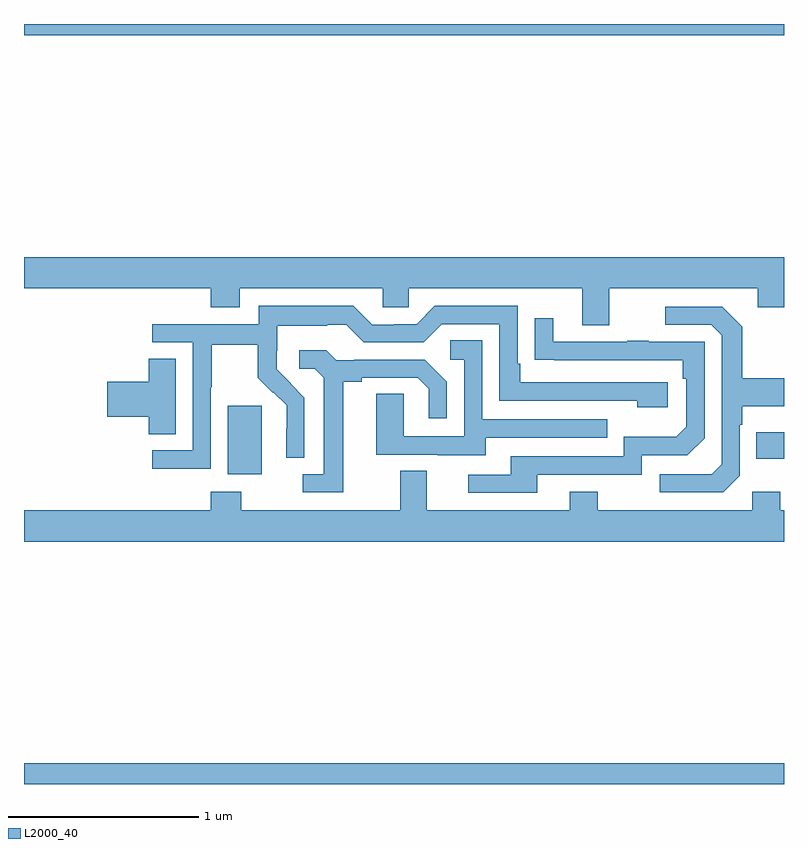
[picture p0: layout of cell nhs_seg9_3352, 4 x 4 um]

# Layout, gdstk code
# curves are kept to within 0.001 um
import gdstk
lib = gdstk.Library(unit=1e-6, precision=1e-09)
def R(c, l, rs):  # rectangles x0, y0, x1, y1
    for r in rs: c.add(gdstk.rectangle(r[:2], r[2:], *l))
def P(c, l, *ps):  # polygons
    for p in ps: c.add(gdstk.Polygon(p, *l))
L2000_40 = (2000, 40)

nhs_seg9_3352 = lib.new_cell('nhs_seg9_3352')
R(nhs_seg9_3352, L2000_40, [(303,1172.5,307,1172.608), (304.073,1174.13,304.252,1174.491), (306.853,1174.211,307,1174.351), (303,1176.44,307,1176.5)])
P(nhs_seg9_3352, L2000_40, [(306.079,1175.108),(306.863,1175.108),(306.863,1175.009),(307,1175.009),(307,1175.272),(303,1175.272),(303,1175.108),(303.983,1175.108),(303.983,1175.009),(304.135,1175.009),(304.135,1175.108),(304.887,1175.108),(304.887,1175.01),(305.025,1175.01),(305.025,1175.108),(305.939,1175.108),(305.939,1174.914),(306.079,1174.914)],
  [(303.984,1174.588),(303.987,1174.588),(303.987,1174.812),(304.231,1174.812),(304.231,1174.637),(304.308,1174.56),(304.311,1174.563),(304.382,1174.493),(304.382,1174.37),(304.38,1174.37),(304.38,1174.216),(304.476,1174.216),(304.476,1174.534),(304.33,1174.682),(304.33,1174.779),(304.332,1174.779),(304.332,1174.913),(304.595,1174.913),(304.595,1174.917),(304.695,1174.917),(304.788,1174.824),(305.103,1174.824),(305.199,1174.92),(305.502,1174.92),(305.502,1174.518),(306.227,1174.518),(306.227,1174.484),(306.388,1174.484),(306.388,1174.614),(305.611,1174.614),(305.611,1174.711),(305.598,1174.711),(305.598,1175.016),(305.163,1175.016),(305.067,1174.92),(304.949,1174.92),(304.949,1174.917),(304.833,1174.917),(304.733,1175.017),(304.236,1175.017),(304.236,1174.92),(303.675,1174.92),(303.675,1174.824),(303.888,1174.824),(303.888,1174.257),(303.675,1174.257),(303.675,1174.159),(303.984,1174.159)],
  [(306.768,1174.122),(306.768,1174.391),(306.781,1174.391),(306.781,1174.487),(307,1174.487),(307,1174.635),(306.781,1174.635),(306.781,1174.907),(306.675,1175.013),(306.375,1175.013),(306.375,1174.917),(306.618,1174.917),(306.672,1174.863),(306.672,1174.182),(306.621,1174.131),(306.345,1174.131),(306.345,1174.035),(306.681,1174.035)],
  [(305.701,1174.128),(306.252,1174.128),(306.252,1174.23),(306.492,1174.23),(306.582,1174.32),(306.582,1174.827),(306.287,1174.827),(306.287,1174.832),(306.175,1174.832),(306.175,1174.827),(305.785,1174.827),(305.785,1174.951),(305.689,1174.951),(305.689,1174.732),(306.466,1174.731),(306.466,1174.634),(306.486,1174.634),(306.486,1174.38),(306.433,1174.327),(306.156,1174.327),(306.156,1174.224),(305.561,1174.224),(305.561,1174.128),(305.337,1174.128),(305.337,1174.032),(305.701,1174.032)],
  [(305.431,1174.323),(306.071,1174.323),(306.071,1174.419),(305.412,1174.419),(305.412,1174.835),(305.244,1174.835),(305.244,1174.734),(305.316,1174.734),(305.316,1174.329),(304.998,1174.329),(304.998,1174.553),(304.853,1174.553),(304.853,1174.233),(305.177,1174.233),(305.177,1174.229),(305.431,1174.229)],
  [(304.681,1174.616),(304.777,1174.616),(304.777,1174.638),(305.072,1174.638),(305.129,1174.581),(305.129,1174.425),(305.226,1174.425),(305.226,1174.618),(305.11,1174.734),(304.738,1174.734),(304.738,1174.731),(304.644,1174.731),(304.592,1174.783),(304.449,1174.783),(304.449,1174.686),(304.53,1174.686),(304.577,1174.639),(304.577,1174.131),(304.467,1174.131),(304.467,1174.035),(304.681,1174.035)],
  [(303.799,1174.739),(303.656,1174.739),(303.656,1174.616),(303.438,1174.616),(303.438,1174.433),(303.656,1174.433),(303.656,1174.342),(303.799,1174.342)],
  [(307,1173.94),(306.981,1173.94),(306.981,1174.039),(306.834,1174.039),(306.834,1173.94),(306.021,1173.94),(306.021,1174.039),(305.873,1174.039),(305.873,1173.94),(305.119,1173.94),(305.119,1174.148),(304.979,1174.148),(304.979,1173.94),(304.143,1173.94),(304.143,1174.039),(303.983,1174.039),(303.983,1173.94),(303,1173.94),(303,1173.776),(307,1173.776)])

lib.write_gds('nhs_seg9_3352.gds')
